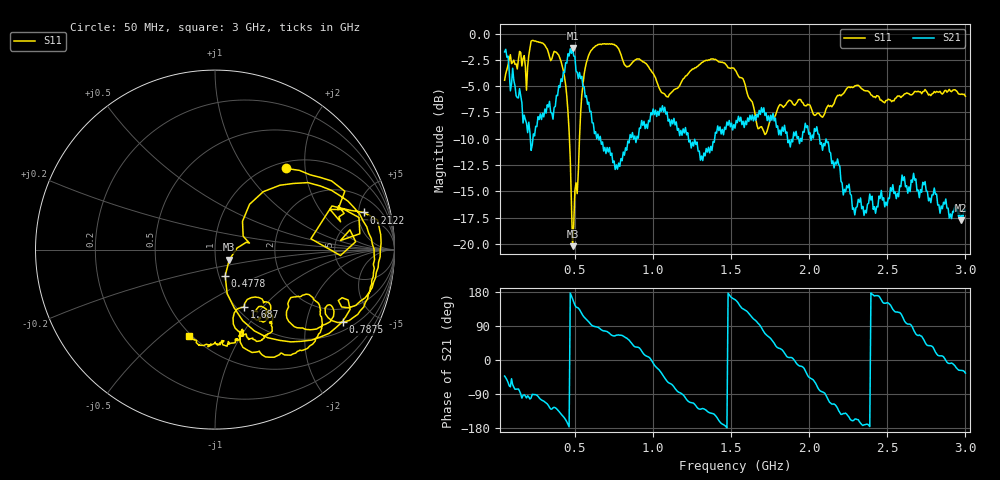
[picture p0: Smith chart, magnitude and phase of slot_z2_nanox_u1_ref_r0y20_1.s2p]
! nanovna_capture.py 2026-10-26T21:29:54+0900
! NanoVNA-F_V2 fw 0.6.0 SN 4A3639384505514B
! cal: load open short thru cal'ed  over 50000000-3000000000 Hz, 201 points
! points 401, avg 4
! slot line z=1.6, genuine Nano X, 0 deg, moved 20 mm along the slot toward PORT 2
# HZ S RI R 50
! S12 and S22 are not measured (written as 0)
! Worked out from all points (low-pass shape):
!   401 points, 50 MHz to 3 GHz, reference 50 ohm
!   highest |S21| = -1.37 dB at 485.1 MHz (marker M1); lowest = -17.8 dB at 2.97 GHz (marker M2)
!   |S21| within 3 dB of the highest: start of sweep to 82.57 MHz; 420.2 MHz to 546.4 MHz (126.2 MHz wide, 26.1 % of centre) (the widest 2 of 4)
!   lowest |S11| = -20.2 dB at 485.1 MHz (marker M3), VSWR 1.22, Z = 58.2 - j6.66 ohm
!   |S11| at or under -10 dB: 464.9 MHz to 529.3 MHz (64.37 MHz wide, 12.9 % of centre)
!   S12 and S22 are empty: the file has one direction only
!   S11 on the Smith chart (normalised r, x): 50 MHz: 1.12, +1.58; 212.2 MHz: 3.75, +5.71; 477.8 MHz: 1.07, -0.32; 787.5 MHz: 1.33, -3.29; 1.687 GHz: 1.09, -0.80; 3 GHz: 0.49, -0.63
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5e7  0.3939 0.4524  0.6049 -0.5501  0 0  0 0
1.68e8  0.7516 0.1099  -0.0231 -0.375  0 0  0 0
2.1225e8  0.8277 0.207  -0.0759 -0.3288  0 0  0 0
2.86e8  0.8839 -0.1819  -0.1043 -0.3759  0 0  0 0
4.11375e8  0.5374 -0.5044  -0.4842 -0.3694  0 0  0 0
4.4825e8  0.2193 -0.4529  -0.6924 -0.2093  0 0  0 0
4.7775e8  0.0567 -0.1459  -0.7908 0.1493  0 0  0 0
4.85125e8  0.0795 -0.0566  -0.8102 0.2709  0 0  0 0
5.44125e8  0.3615 0.3587  -0.3321 0.5308  0 0  0 0
6.32625e8  0.8714 0.0606  0.0107 0.3415  0 0  0 0
7.875e8  0.7133 -0.4044  0.0971 0.2126  0 0  0 0
1.03825e9  0.4004 -0.3816  0.3681 -0.1769  0 0  0 0
1.207875e9  0.5595 -0.2851  -0.0631 -0.3518  0 0  0 0
1.525e9  0.3025 -0.5994  -0.3324 0.1251  0 0  0 0
1.68725e9  0.1637 -0.3202  -0.00101 0.4128  0 0  0 0
1.842125e9  0.2997 -0.3393  0.3487 0.1132  0 0  0 0
2.019125e9  0.2101 -0.3735  0.2096 -0.2544  0 0  0 0
2.196125e9  0.3112 -0.406  -0.1751 -0.155  0 0  0 0
2.51325e9  0.1481 -0.4616  -0.1387 0.088  0 0  0 0
2.668125e9  0.1131 -0.5084  0.0392 0.2131  0 0  0 0
2.9705e9  -0.1157 -0.5006  0.115 -0.0596  0 0  0 0
3e9  -0.1427 -0.4825  0.1191 -0.082  0 0  0 0
